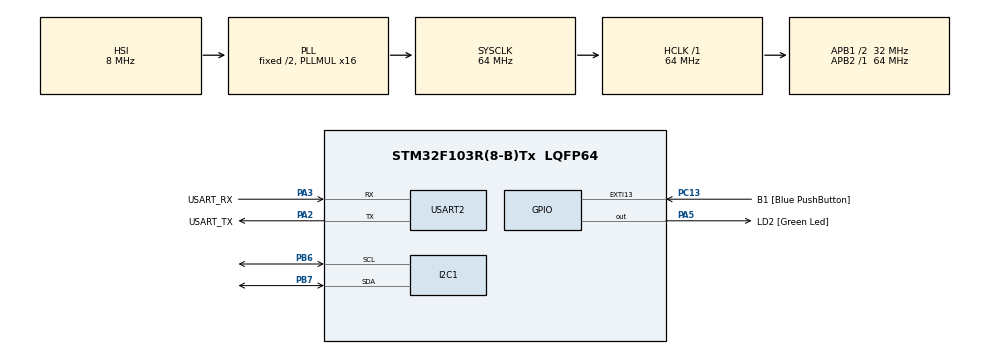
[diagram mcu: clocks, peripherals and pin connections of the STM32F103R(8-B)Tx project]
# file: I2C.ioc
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Mcu.Family=STM32F1
PC15-OSC32_OUT.Mode=LSE-External-Oscillator
PA2.GPIO_PuPd=GPIO_NOPULL
PD1-OSC_OUT.Mode=HSE-External-Clock-Source
PA14.GPIO_Label=TCK
PA3.GPIO_PuPd=GPIO_NOPULL
PA2.GPIO_Speed=GPIO_SPEED_FREQ_LOW
PC13-TAMPER-RTC.Signal=GPXTI13
PD0-OSC_IN.Signal=RCC_OSC_IN
RCC.APB1CLKDivider=RCC_HCLK_DIV2
PC14-OSC32_IN.Signal=RCC_OSC32_IN
PA3.GPIO_Speed=GPIO_SPEED_FREQ_LOW
RCC.SYSCLKSource=RCC_SYSCLKSOURCE_PLLCLK
ProjectManager.StackSize=0x400
PD1-OSC_OUT.Signal=RCC_OSC_OUT
PA13.Signal=SYS_JTMS-SWDIO
PA3.Mode=Asynchronous
ProjectManager.TargetToolchain=TrueSTUDIO
I2C1.I2C_Mode=I2C_Fast
PA3.GPIO_Mode=GPIO_MODE_AF_PP
RCC.HCLKFreq_Value=64000000
RCC.APB2TimFreq_Value=64000000
PB6.Signal=I2C1_SCL
PB6.Mode=I2C
RCC.USBFreq_Value=64000000
PC15-OSC32_OUT.Signal=RCC_OSC32_OUT
RCC.AHBFreq_Value=64000000
PD0-OSC_IN.Mode=HSE-External-Clock-Source
NVIC.EXTI15_10_IRQn=true\:0\:0\:false\:false\:true\:true\:true
PA5.Signal=GPIO_Output
board=NUCLEO-F103RB
RCC.RTCClockSelection=RCC_RTCCLKSOURCE_LSE
PC13-TAMPER-RTC.GPIO_Label=B1 [Blue PushButton]
RCC.PLLMUL=RCC_PLL_MUL16
RCC.APB2Freq_Value=64000000
PC14-OSC32_IN.Mode=LSE-External-Oscillator
PA5.GPIO_ModeDefaultOutputPP=GPIO_MODE_OUTPUT_PP
PA14.Mode=Serial_Wire
PA5.GPIO_PuPd=GPIO_NOPULL
PB7.Signal=I2C1_SDA
PA13.Mode=Serial_Wire
Mcu.Name=STM32F103R(8-B)Tx
PA2.Signal=USART2_TX
PA13.GPIO_Label=TMS
PB3.Signal=SYS_JTDO-TRACESWO
RCC.SYSCLKFreq_VALUE=64000000
Mcu.Package=LQFP64
PA5.GPIO_Label=LD2 [Green Led]
USART2.VirtualMode=VM_ASYNC
PC13-TAMPER-RTC.GPIO_PuPd=GPIO_NOPULL
PA2.GPIO_Label=USART_TX
PB7.Mode=I2C
PA14.Signal=SYS_JTCK-SWCLK
ProjectManager.HeapSize=0x200
PA5.GPIO_Speed=GPIO_SPEED_FREQ_LOW
NVIC.PriorityGroup=NVIC_PRIORITYGROUP_4
RCC.APB1TimFreq_Value=64000000
PA2.Mode=Asynchronous
RCC.APB1Freq_Value=32000000
PA3.GPIO_Label=USART_RX
PA3.Signal=USART2_RX
PA2.GPIO_Mode=GPIO_MODE_AF_PP
PB3.GPIO_Label=SWO

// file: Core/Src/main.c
/* USER CODE BEGIN Header */
/**
  ******************************************************************************
  * @file           : main.c
  * @brief          : Main program body
  ******************************************************************************
  * @attention
  *
  * <h2><center>&copy; Copyright (c) 2021 STMicroelectronics.
  * All rights reserved.</center></h2>
  *
  * This software component is licensed by ST under BSD 3-Clause license,
  * the "License"; You may not use this file except in compliance with the
  * License. You may obtain a copy of the License at:
  *                        opensource.org/licenses/BSD-3-Clause
  *
  ******************************************************************************
  */
/* USER CODE END Header */
#include "main.h"

I2C_HandleTypeDef hi2c1;

UART_HandleTypeDef huart2;

void SystemClock_Config(void);
static void MX_GPIO_Init(void);
static void MX_I2C1_Init(void);
static void MX_USART2_UART_Init(void);

/* USER CODE BEGIN 0 */
#ifdef __GNUC__
#define PUTCHAR_PROTOTYPE int __io_putchar(int ch)
#else
#define PUTCHAR_PROTOTYPE int fputc(int ch, FILE *f)
#endif

PUTCHAR_PROTOTYPE
{
	if(ch == '\n')
		HAL_UART_Transmit(&huart2, (uint8_t*) "\r", 1, 0xFFFF);
	HAL_UART_Transmit(&huart2, (uint8_t*) &ch, 1, 0xFFFF);

	return ch;
}
/* USER CODE END 0 */

int main(void)
{

  /* MCU Configuration--------------------------------------------------------*/

  /* Reset of all peripherals, Initializes the Flash interface and the Systick. */
  HAL_Init();

  /* Configure the system clock */
  SystemClock_Config();

  /* Initialize all configured peripherals */
  MX_GPIO_Init();
  MX_I2C1_Init();
  MX_USART2_UART_Init();

  /* Infinite loop */
  /* USER CODE BEGIN WHILE */
  uint8_t eeprom[10] = {0x00,0x11,0x22,0x33, 0x44, 0x55, 0x66, 0x77, 0x88, 0x99};

  HAL_I2C_Mem_Write(&hi2c1, 0xA0, 0x00, I2C_MEMADD_SIZE_8BIT, &eeprom[0], 10, 10);

  HAL_Delay(3);

  for(int i=0; i<10; i++){
	  eeprom[i] = 0x00;
  }
  HAL_I2C_Mem_Read(&hi2c1, 0xA0, 0x00, I2C_MEMADD_SIZE_8BIT, &eeprom[0], 10, 10);

  printf("%02x %02x %02x %02x %02x %02x %02x %02x %02x %02x\n", eeprom[0], eeprom[1], eeprom[2], eeprom[3], eeprom[4], eeprom[5], eeprom[6], eeprom[7], eeprom[8], eeprom[9]);

  while (1)
  {
    /* USER CODE END WHILE */

  }
}

void SystemClock_Config(void)
{
  RCC_OscInitTypeDef RCC_OscInitStruct = {0};
  RCC_ClkInitTypeDef RCC_ClkInitStruct = {0};

  /** Initializes the RCC Oscillators according to the specified parameters
  * in the RCC_OscInitTypeDef structure.
  */
  RCC_OscInitStruct.OscillatorType = RCC_OSCILLATORTYPE_HSI;
  RCC_OscInitStruct.HSIState = RCC_HSI_ON;
  RCC_OscInitStruct.HSICalibrationValue = RCC_HSICALIBRATION_DEFAULT;
  RCC_OscInitStruct.PLL.PLLState = RCC_PLL_ON;
  RCC_OscInitStruct.PLL.PLLSource = RCC_PLLSOURCE_HSI_DIV2;
  RCC_OscInitStruct.PLL.PLLMUL = RCC_PLL_MUL16;
  if (HAL_RCC_OscConfig(&RCC_OscInitStruct) != HAL_OK)
  {
    Error_Handler();
  }
  /** Initializes the CPU, AHB and APB buses clocks
  */
  RCC_ClkInitStruct.ClockType = RCC_CLOCKTYPE_HCLK|RCC_CLOCKTYPE_SYSCLK
                              |RCC_CLOCKTYPE_PCLK1|RCC_CLOCKTYPE_PCLK2;
  RCC_ClkInitStruct.SYSCLKSource = RCC_SYSCLKSOURCE_PLLCLK;
  RCC_ClkInitStruct.AHBCLKDivider = RCC_SYSCLK_DIV1;
  RCC_ClkInitStruct.APB1CLKDivider = RCC_HCLK_DIV2;
  RCC_ClkInitStruct.APB2CLKDivider = RCC_HCLK_DIV1;

  if (HAL_RCC_ClockConfig(&RCC_ClkInitStruct, FLASH_LATENCY_2) != HAL_OK)
  {
    Error_Handler();
  }
}

static void MX_I2C1_Init(void)
{

  hi2c1.Instance = I2C1;
  hi2c1.Init.ClockSpeed = 400000;
  hi2c1.Init.DutyCycle = I2C_DUTYCYCLE_2;
  hi2c1.Init.OwnAddress1 = 0;
  hi2c1.Init.AddressingMode = I2C_ADDRESSINGMODE_7BIT;
  hi2c1.Init.DualAddressMode = I2C_DUALADDRESS_DISABLE;
  hi2c1.Init.OwnAddress2 = 0;
  hi2c1.Init.GeneralCallMode = I2C_GENERALCALL_DISABLE;
  hi2c1.Init.NoStretchMode = I2C_NOSTRETCH_DISABLE;
  if (HAL_I2C_Init(&hi2c1) != HAL_OK)
  {
    Error_Handler();
  }

}

static void MX_USART2_UART_Init(void)
{

  huart2.Instance = USART2;
  huart2.Init.BaudRate = 115200;
  huart2.Init.WordLength = UART_WORDLENGTH_8B;
  huart2.Init.StopBits = UART_STOPBITS_1;
  huart2.Init.Parity = UART_PARITY_NONE;
  huart2.Init.Mode = UART_MODE_TX_RX;
  huart2.Init.HwFlowCtl = UART_HWCONTROL_NONE;
  huart2.Init.OverSampling = UART_OVERSAMPLING_16;
  if (HAL_UART_Init(&huart2) != HAL_OK)
  {
    Error_Handler();
  }

}

static void MX_GPIO_Init(void)
{
  GPIO_InitTypeDef GPIO_InitStruct = {0};

  /* GPIO Ports Clock Enable */
  __HAL_RCC_GPIOC_CLK_ENABLE();
  __HAL_RCC_GPIOD_CLK_ENABLE();
  __HAL_RCC_GPIOA_CLK_ENABLE();
  __HAL_RCC_GPIOB_CLK_ENABLE();

  /*Configure GPIO pin Output Level */
  HAL_GPIO_WritePin(LD2_GPIO_Port, LD2_Pin, GPIO_PIN_RESET);

  /*Configure GPIO pin : B1_Pin */
  GPIO_InitStruct.Pin = B1_Pin;
  GPIO_InitStruct.Mode = GPIO_MODE_IT_RISING;
  GPIO_InitStruct.Pull = GPIO_NOPULL;
  HAL_GPIO_Init(B1_GPIO_Port, &GPIO_InitStruct);

  /*Configure GPIO pin : LD2_Pin */
  GPIO_InitStruct.Pin = LD2_Pin;
  GPIO_InitStruct.Mode = GPIO_MODE_OUTPUT_PP;
  GPIO_InitStruct.Pull = GPIO_NOPULL;
  GPIO_InitStruct.Speed = GPIO_SPEED_FREQ_LOW;
  HAL_GPIO_Init(LD2_GPIO_Port, &GPIO_InitStruct);

  /* EXTI interrupt init*/
  HAL_NVIC_SetPriority(EXTI15_10_IRQn, 0, 0);
  HAL_NVIC_EnableIRQ(EXTI15_10_IRQn);

}

void Error_Handler(void)
{
  __disable_irq();
  while (1)
  {
  }
}

/************************ (C) COPYRIGHT STMicroelectronics *****END OF FILE****/
